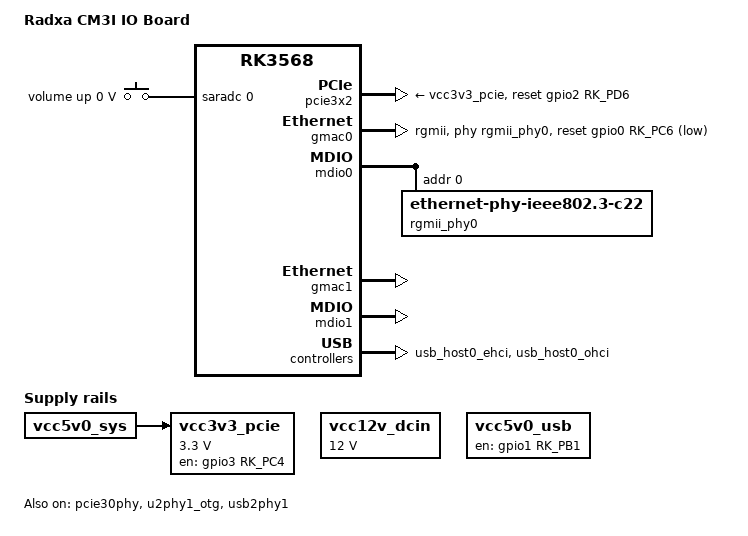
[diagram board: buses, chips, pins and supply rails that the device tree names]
/*
 * SPDX-License-Identifier:     GPL-2.0+
 * Copyright (c) 2020 Rockchip Electronics Co., Ltd.
 * Copyright (c) 2024 Radxa Limited
 */

/dts-v1/;
#include "rk3568-radxa-cm3i.dtsi"

/ {
	model = "Radxa CM3I IO Board";
	compatible = "radxa,cm3i-io", "radxa,cm3i", "rockchip,rk3568";

	vcc12v_dcin: vcc12v-dcin {
		u-boot,dm-pre-reloc;
		compatible = "regulator-fixed";
		regulator-name = "dc_12v";
		regulator-always-on;
		regulator-boot-on;
		regulator-min-microvolt = <12000000>;
		regulator-max-microvolt = <12000000>;
	};

	vcc3v3_pcie: gpio-regulator {
		u-boot,dm-pre-reloc;
		compatible = "regulator-fixed";
		regulator-name = "vcc3v3_pcie";
		regulator-min-microvolt = <3300000>;
		regulator-max-microvolt = <3300000>;
		enable-active-high;
		gpio = <&gpio3 RK_PC4 GPIO_ACTIVE_HIGH>;
		startup-delay-us = <5000>;
		vin-supply = <&vcc5v0_sys>;
	};

	vcc5v0_usb: vcc5v0-usb {
		u-boot,dm-pre-reloc;
		compatible = "regulator-fixed";
		enable-active-high;
		gpio = <&gpio1 RK_PB1 GPIO_ACTIVE_HIGH>;
		pinctrl-names = "default";
		pinctrl-0 = <&vcc5v0_en>;
		regulator-name = "vcc5v0_usb";
		regulator-always-on;
		regulator-boot-on;
	};

	adc-keys {
		compatible = "adc-keys";
		io-channels = <&saradc 0>;
		io-channel-names = "buttons";
		keyup-threshold-microvolt = <1800000>;
		u-boot,dm-spl;
		status = "okay";

		volumeup-key {
			u-boot,dm-spl;
			linux,code = <KEY_VOLUMEUP>;
			label = "volume up";
			press-threshold-microvolt = <9>;
		};
	};
};

&vcc5v0_sys {
	vin-supply = <&vcc12v_dcin>;
};

&gpio3 {
	u-boot,dm-pre-reloc;
};

&pcie30_phy_grf {
	u-boot,dm-pre-reloc;
};

&pcie30phy {
	u-boot,dm-pre-reloc;
	status = "okay";
};

&pcie3x2 {
	u-boot,dm-pre-reloc;
	vpcie3v3-supply = <&vcc3v3_pcie>;
	reset-gpios = <&gpio2 RK_PD6 GPIO_ACTIVE_HIGH>;
	rockchip,bifurcation;
	status = "okay";
};

&gmac0 {
	u-boot,dm-pre-reloc;
	phy-mode = "rgmii";
	clock_in_out = "output";

	snps,reset-gpio = <&gpio0 RK_PC6 GPIO_ACTIVE_LOW>;
	snps,reset-active-low;
	/* Reset time is 20ms, 100ms for rtl8211f */
	snps,reset-delays-us = <0 20000 100000>;

	assigned-clocks = <&cru SCLK_GMAC0_RX_TX>, <&cru SCLK_GMAC0>;
	assigned-clock-parents = <&cru SCLK_GMAC0_RGMII_SPEED>;
	assigned-clock-rates = <0>, <125000000>;

	pinctrl-names = "default";
	pinctrl-0 = <&gmac0_miim
		     &gmac0_tx_bus2
		     &gmac0_rx_bus2
		     &gmac0_rgmii_clk
		     &gmac0_rgmii_bus>;

	tx_delay = <0x36>;
	rx_delay = <0x2d>;

	phy-handle = <&rgmii_phy0>;
	status = "okay";
};

&mdio0 {
	rgmii_phy0: phy@0 {
		compatible = "ethernet-phy-ieee802.3-c22";
		reg = <0x0>;
	};
};

&gmac1 {
	status = "okay";
};

&mdio1 {
	status = "okay";
};

&u2phy1_otg {
	u-boot,dm-pre-reloc;
	status = "okay";
};

&usb2phy1 {
	u-boot,dm-pre-reloc;
	status = "okay";
};

&usb_host0_ehci {
	u-boot,dm-pre-reloc;
	status = "okay";
};

&usb_host0_ohci {
	u-boot,dm-pre-reloc;
	status = "okay";
};

&usb2phy1_grf {
	u-boot,dm-pre-reloc;
};

&pinctrl {
	u-boot,dm-spl;
	usb {
                u-boot,dm-pre-reloc;
                vcc5v0_en: vcc5v0-en {
			rockchip,pins = <1 RK_PB1 RK_FUNC_GPIO &pcfg_pull_none>;
			};
	};
};
